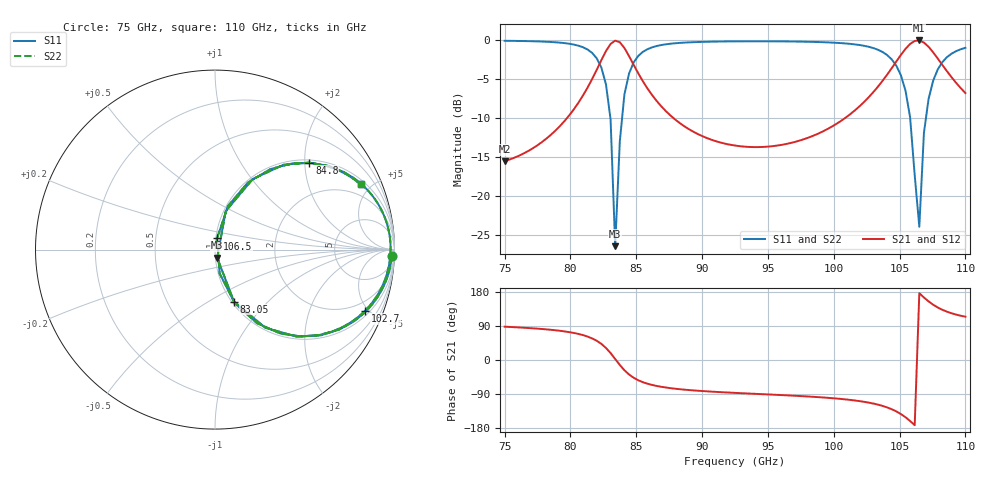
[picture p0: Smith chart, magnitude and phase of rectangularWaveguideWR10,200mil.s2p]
# HZ S RI R 50
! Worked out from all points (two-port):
!   101 points, 75 GHz to 110 GHz, reference 50 ohm
!   highest |S21| = -0.08 dB at 106.5 GHz (marker M1); lowest = -15.6 dB at 75 GHz (marker M2)
!   |S21| within 3 dB of the highest: 82.22 GHz to 84.76 GHz (2.546 GHz wide, 3.05 % of centre); 104.6 GHz to 108.2 GHz (3.556 GHz wide, 3.34 % of centre)
!   lowest |S11| = -26.5 dB at 83.4 GHz (marker M3), VSWR 1.10, Z = 51 - j4.68 ohm
!   |S11| at or under -10 dB: 83.03 GHz to 83.93 GHz (894.2 MHz wide, 1.07 % of centre); 105.8 GHz to 107 GHz (1.205 GHz wide, 1.13 % of centre)
!   |S22| runs from -26.5 to -0.1 dB; largest |S21 - S12| = 0
!   S11 on the Smith chart (normalised r, x): 75 GHz: 20, -48; 83.05 GHz: 1.02, -0.66; 84.8 GHz: 1.06, +2.11; 102.7 GHz: 1.29, -4.75; 106.5 GHz: 1.01, +0.13; 110 GHz: 1.26, +4.34
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7.5e10  0.985 -0.0351  0.006 0.1663  0.006 0.1663  0.985 -0.0351
7.815e10  0.9603 -0.152  0.0366 0.2284  0.0366 0.2284  0.9603 -0.152
8.095e10  0.8189 -0.3645  0.1803 0.3998  0.1803 0.3998  0.8189 -0.3645
8.235e10  0.4534 -0.4843  0.5463 0.4998  0.5463 0.4998  0.4534 -0.4843
8.305e10  0.1058 -0.2896  0.894 0.2953  0.894 0.2953  0.1058 -0.2896
8.34e10  0.0122 -0.0457  0.9876 0.0466  0.9876 0.0466  0.0122 -0.0457
8.375e10  0.0597 0.2143  0.9401 -0.2184  0.9401 -0.2184  0.0597 0.2143
8.41e10  0.2104 0.3933  0.7894 -0.4024  0.7894 -0.4024  0.2104 0.3933
8.48e10  0.5262 0.485  0.4734 -0.5042  0.4734 -0.5042  0.5262 0.485
8.585e10  0.7745 0.3977  0.2247 -0.4323  0.2247 -0.4323  0.7745 0.3977
8.69e10  0.875 0.3027  0.1235 -0.3533  0.1235 -0.3533  0.875 0.3027
9.25e10  0.9759 0.0547  0.0118 -0.2092  0.0118 -0.2092  0.9759 0.0547
9.845e10  0.9622 -0.12  -0.0302 -0.2405  -0.0302 -0.2405  0.9622 -0.12
1.0265e11  0.8352 -0.3418  -0.1631 -0.3952  -0.1631 -0.3952  0.8352 -0.3418
1.044e11  0.5787 -0.4765  -0.4207 -0.5046  -0.4207 -0.5046  0.5787 -0.4765
1.051e11  0.3642 -0.4673  -0.6355 -0.4855  -0.6355 -0.4855  0.3642 -0.4673
1.058e11  0.1103 -0.2987  -0.8895 -0.3071  -0.8895 -0.3071  0.1103 -0.2987
1.065e11  0.0111 0.062  -0.9887 0.0636  -0.9887 0.0636  0.0111 0.062
1.0685e11  0.0719 0.2419  -0.9279 0.2485  -0.9279 0.2485  0.0719 0.2419
1.0755e11  0.3108 0.4493  -0.6889 0.4657  -0.6889 0.4657  0.3108 0.4493
1.086e11  0.6171 0.4674  -0.3822 0.4989  -0.3822 0.4989  0.6171 0.4674
1.1e11  0.8112 0.3628  -0.1872 0.415  -0.1872 0.415  0.8112 0.3628
